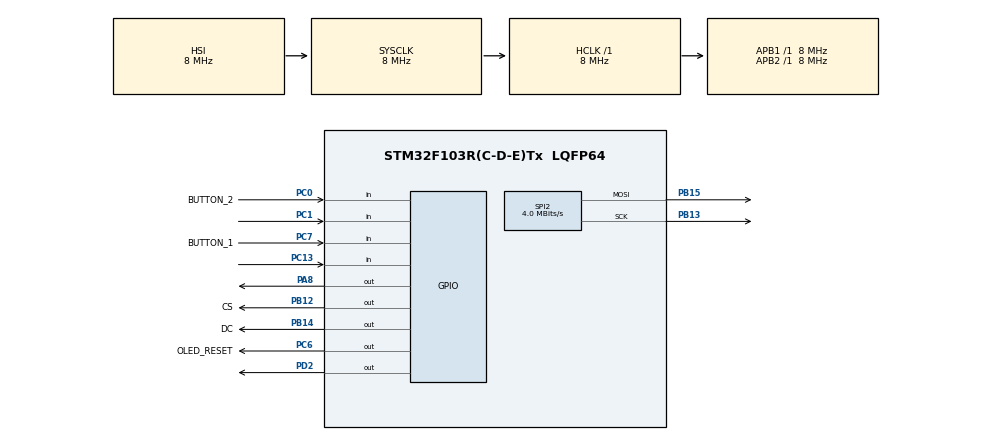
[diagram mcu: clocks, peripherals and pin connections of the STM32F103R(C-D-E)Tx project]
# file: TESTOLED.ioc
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Mcu.Family=STM32F1
PC15-OSC32_OUT.Mode=LSE-External-Oscillator
PD1-OSC_OUT.Mode=HSE-External-Oscillator
SPI2.VirtualType=VM_MASTER
PB14.GPIO_Label=DC
PC6.Signal=GPIO_Output
PC0.GPIO_Label=BUTTON_2
PC13-TAMPER-RTC.Signal=GPIO_Input
PC6.GPIO_Label=OLED_RESET
NVIC.TIM1_UP_IRQn=true\:0\:0\:false\:false\:true\:true\:true
PD0-OSC_IN.Signal=RCC_OSC_IN
PC0.Signal=GPIO_Input
PC14-OSC32_IN.Signal=RCC_OSC32_IN
PB13.Signal=SPI2_SCK
PB15.Signal=SPI2_MOSI
ProjectManager.StackSize=0x400
PD1-OSC_OUT.Signal=RCC_OSC_OUT
PA13.Signal=SYS_JTMS-SWDIO
PB14.PinState=GPIO_PIN_RESET
TIM1.Prescaler=7
ProjectManager.TargetToolchain=TrueSTUDIO
PB14.GPIO_Speed=GPIO_SPEED_FREQ_LOW
RCC.HCLKFreq_Value=8000000
RCC.APB2TimFreq_Value=8000000
PC7.Signal=GPIO_Input
PB12.PinState=GPIO_PIN_RESET
RCC.USBFreq_Value=64000000
PC7.GPIO_PuPd=GPIO_PULLUP
PC15-OSC32_OUT.Signal=RCC_OSC32_OUT
PB14.GPIO_ModeDefaultOutputPP=GPIO_MODE_OUTPUT_PP
RCC.AHBFreq_Value=8000000
SPI2.BaudRatePrescaler=SPI_BAUDRATEPRESCALER_2
PB12.GPIO_Speed=GPIO_SPEED_FREQ_LOW
PD0-OSC_IN.Mode=HSE-External-Oscillator
PC6.PinState=GPIO_PIN_RESET
PB14.Signal=GPIO_Output
PB12.GPIO_ModeDefaultOutputPP=GPIO_MODE_OUTPUT_PP
board=custom
PC1.GPIO_PuPd=GPIO_NOPULL
RCC.PLLMUL=RCC_PLL_MUL16
PB15.Mode=TX_Only_Simplex_Unidirect_Master
PB12.GPIO_Label=CS
RCC.APB2Freq_Value=8000000
PC14-OSC32_IN.Mode=LSE-External-Oscillator
VP_TIM2_VS_ClockSourceINT.Mode=Internal
PA14.Mode=Serial_Wire
SPI2.CalculateBaudRate=4.0 MBits/s
PA8.Signal=GPIO_Output
PA8.GPIO_ModeDefaultOutputPP=GPIO_MODE_OUTPUT_PP
TIM2.Period=50
PA13.Mode=Serial_Wire
Mcu.Name=STM32F103R(C-D-E)Tx
VP_TIM1_VS_ClockSourceINT.Mode=Internal
PC7.GPIO_Label=BUTTON_1
RCC.SYSCLKFreq_VALUE=8000000
Mcu.Package=LQFP64
TIM2.Prescaler=7
PB14.GPIO_PuPd=GPIO_NOPULL
SPI2.Mode=SPI_MODE_MASTER
PA14.Signal=SYS_JTCK-SWCLK
ProjectManager.HeapSize=0x200
PC6.GPIO_PuPd=GPIO_NOPULL
SPI2.CLKPhase=SPI_PHASE_1EDGE
PA8.GPIO_PuPd=GPIO_NOPULL
NVIC.PriorityGroup=NVIC_PRIORITYGROUP_4
RCC.APB1TimFreq_Value=8000000
SPI2.Direction=SPI_DIRECTION_2LINES
TIM1.Period=200
PB13.Mode=TX_Only_Simplex_Unidirect_Master
PC0.GPIO_PuPd=GPIO_PULLUP
PD2.Signal=GPIO_Output
PB12.GPIO_PuPd=GPIO_NOPULL
RCC.APB1Freq_Value=8000000
PC6.GPIO_Speed=GPIO_SPEED_FREQ_LOW
PA8.GPIO_Speed=GPIO_SPEED_FREQ_LOW
PC1.Signal=GPIO_Input
PB12.Signal=GPIO_Output
PC6.GPIO_ModeDefaultOutputPP=GPIO_MODE_OUTPUT_PP
PA8.PinState=GPIO_PIN_RESET

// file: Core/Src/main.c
/* USER CODE BEGIN Header */
/**
  ******************************************************************************
  * @file           : main.c
  * @brief          : Main program body
  ******************************************************************************
  * @attention
  *
  * <h2><center>&copy; Copyright (c) 2021 STMicroelectronics.
  * All rights reserved.</center></h2>
  *
  * This software component is licensed by ST under BSD 3-Clause license,
  * the "License"; You may not use this file except in compliance with the
  * License. You may obtain a copy of the License at:
  *                        opensource.org/licenses/BSD-3-Clause
  *
  ******************************************************************************
  */
/* USER CODE END Header */

#include "main.h"

/* USER CODE BEGIN Includes */
#include "sh1106.h"
#include "font5x7.h"
#include "font7x10.h"
#include "bitmap.h"
#include "math.h"
/* USER CODE END Includes */

SPI_HandleTypeDef hspi2;

TIM_HandleTypeDef htim1;
TIM_HandleTypeDef htim2;

/* USER CODE BEGIN PV */
volatile int speed_cactus = 0;
volatile int speed_dino = 0;
volatile int speed_score_and_display = 0;
volatile int speed_sword = 0;
volatile int speed_bird = 0;
volatile int speed_bird_wing = 0;
/* USER CODE END PV */

void SystemClock_Config(void);
static void MX_GPIO_Init(void);
static void MX_SPI2_Init(void);
static void MX_TIM1_Init(void);
static void MX_TIM2_Init(void);

/* USER CODE BEGIN 0 */
struct dino
{
  int x_dino, y_dino;
  int dino_status;
  int level_jump_dino;
  int fl_dino_foot;
};

struct cactus
{
  int x_cactus, y_cactus;
  int fl_cactus_destroy;
};

struct bird
{
  int x_bird, y_bird;
  int bird_wing;
};

struct sword
{
  int x_sword, y_sword;
  int fl_dino_have_sword;
  int durable_sword;
  int fl_sword_must_appear;
  int fl_sword;
};

struct dino dino1;
struct cactus cactus1;
struct sword sword1;
struct bird bird1;
int32_t score = 0, hscore = 0; //start point, highest point
int fl_invert = 1;

void HAL_TIM_PeriodElapsedCallback(TIM_HandleTypeDef *htim)
{
  speed_cactus++;
  speed_dino++;
  speed_score_and_display++;
  speed_sword++;
  speed_bird++;
  speed_bird_wing++;
}

void dino_work()
{
  //dino position
  if (HAL_GPIO_ReadPin(GPIOC, GPIO_PIN_0) == GPIO_PIN_RESET || dino1.y_dino != 38)
  //when play push button or dino is jumping/downing
  {

    if ((dino1.y_dino == 28) && (dino1.level_jump_dino == -2)) // increase/decrese jump speed like inertia
      dino1.level_jump_dino = -1;
    if ((dino1.y_dino == 24) && (dino1.level_jump_dino == 1))
      dino1.level_jump_dino = 2;

    if (dino1.y_dino == 38) // 38 is default position (when dino in ground)
    {
      dino1.level_jump_dino = -2; // dino jumping
    }
    if (dino1.y_dino == 12) //12 is the highest position when dino jumping
    {
      dino1.level_jump_dino = 1; // dino downing
    }
    dino1.y_dino = dino1.y_dino + dino1.level_jump_dino; //y_dino change
  }

  //    //foot dino
  //    if (dino1.fl_dino_foot == 1)
  //    {
  //    	dino1.fl_dino_foot=0;
  //    }
  //    else if (dino1.fl_dino_foot == 0)
  //    	dino1.fl_dino_foot=1;

  //dino dead
  if ((cactus1.x_cactus > 5) && (cactus1.x_cactus < 24) && (dino1.y_dino > 34) && (cactus1.fl_cactus_destroy == 0))
  {
    //if cactus.x_cactus in 5-> 24 and dino don't jump and cactus not be destroyed
    dino1.dino_status = 1; //dino dead
  }

  if ((bird1.x_bird > 5) && (bird1.x_bird < 24) && (dino1.y_dino < 20))
  {
    //if bird in 5-> 24 and dino is jumping and cactus not be destroyed
    dino1.dino_status = 1; //dino dead
  }
}

void sword_work()
{
  /////////////////////////////Sword appear////////////////////////////////////////////////////
  if ((score != 0) && (score % 800 == 0) && (sword1.fl_dino_have_sword == 0))
  {
    sword1.fl_sword_must_appear = 1; //if dino dont have sword and score % 80 = 0 -> sword appear
    sword1.x_sword = 115;
  }

  if ((speed_sword > 200) && (sword1.fl_sword_must_appear == 1))
  {
    speed_sword = 0;
    sword1.x_sword--;//sword position
    if (sword1.x_sword <= 1)           //if sword display at end of screen but dino dont eat
      sword1.fl_sword_must_appear = 0; //-> sword disappear
  }

  //position dino: x= 10->30
  if ((sword1.fl_sword_must_appear == 1) && (10 < sword1.x_sword) && (sword1.x_sword < 30) && (18 < dino1.y_dino) && (dino1.y_dino < 22))
  {
    sword1.fl_sword_must_appear = 0;
    sword1.fl_dino_have_sword = 1;
    sword1.durable_sword = 1000;
  }

  ///////////////////////////////Sword cut///////////////////////////////////////////////
  if ((HAL_GPIO_ReadPin(GPIOC, GPIO_PIN_7) == GPIO_PIN_RESET) && (sword1.fl_dino_have_sword == 1))
  {
    sword1.durable_sword = sword1.durable_sword - 5;
    {
      sword1.fl_sword = 0; //cut down
    }
  }
  else
    sword1.fl_sword = 1; //normal

  //sword cut effect position: x= 25 -> 44

  if ((sword1.fl_sword == 0) && (25 < cactus1.x_cactus) && (cactus1.x_cactus < 44) && (dino1.y_dino == 38) && (sword1.fl_dino_have_sword == 1) && (sword1.durable_sword > 0))
    // if dino cut a cactus when dino stand on ground (dino not jumping)
    cactus1.fl_cactus_destroy = 1; //cactus be destroyed

  if (sword1.durable_sword <= 0)
  {
    sword1.fl_dino_have_sword = 0;
    sword1.durable_sword = 0;
  }
}

void cactus_work()
{
  //////////////////////////////////Cactus////////////////////////////////////////////////////////////////////////
  int speed_cactus_now;
  //////////////////////Increase speed cactus by score
  if (score <= 1000) // score display= score /10
    speed_cactus_now = 140;
  else if (score <= 2000)
    speed_cactus_now = 100;
  else if (score <= 3000)
    speed_cactus_now = 80;
  else if (score > 3000)
    speed_cactus_now = 40;

  if (speed_cactus > speed_cactus_now)
  {
    speed_cactus = 0;
    cactus1.x_cactus--;
    if (cactus1.x_cactus == 0) //after cactus go to the end of display  (x display max=128)
    {
      cactus1.x_cactus = 122; //cactus appear at start of display
      cactus1.fl_cactus_destroy = 0;
    }
  }
}

void bird_work()
{
  //////////////////////////////////Bird////////////////////////////////////////////////////////////////////////
  int speed_bird_now;
  //////////////////////Increase speed bird by score
  if (score < 4000) // score display= score /10
    speed_bird_now = 200;
  else if (score <= 5000)
    speed_bird_now = 150;
  else if (score <= 6000)
    speed_bird_now = 80;
  else if (score > 6000)
    speed_bird_now = 40;

  if (speed_bird > speed_bird_now)
  {
    speed_bird = 0;
    bird1.x_bird--;
    if (bird1.x_bird == 0) //after bird go to the end of display  (x display max=128)
    {
      bird1.x_bird = 122; //bird appear at start of display
    }
  }
}

void bird_wing_work()
{
  if (speed_bird_wing > 150)
  {
    speed_bird_wing = 0;

    if (bird1.bird_wing == 0)
    {
      bird1.bird_wing = 1;
    }
    else if (bird1.bird_wing == 1)
    {
      bird1.bird_wing = 0;
    }
  }
}

void display()
{

  /////////////////Display//////////////////////////////////////////////////////////
  SH1106_Fill(0x00);                     //clear screen
  LCD_DrawBitmap(1, 58, 127, 8, ground); //display ground
  LCD_HLine(1, 127, 58);                 ////display line ground

  if (cactus1.fl_cactus_destroy == 0)
    LCD_DrawBitmap(cactus1.x_cactus, cactus1.y_cactus, 6, 16, cactus); //display cactus
  else
    LCD_DrawBitmap(cactus1.x_cactus, cactus1.y_cactus + 9, 3, 7, cactus_dead3x7);

  if ((bird1.bird_wing == 1) && (score > 2300))
    LCD_DrawBitmap(bird1.x_bird, bird1.y_bird, 14, 12, bird_down_14x12);
  else if ((bird1.bird_wing == 0) && (score > 2300))
    LCD_DrawBitmap(bird1.x_bird, bird1.y_bird - 6, 14, 12, bird_up_14x12); //display bird

  if (dino1.dino_status == 1) //dino dead
    LCD_DrawBitmap(dino1.x_dino, dino1.y_dino, 20, 20, googledino20x20_dead);
  else if (dino1.fl_dino_foot == 1)
    LCD_DrawBitmap(dino1.x_dino, dino1.y_dino, 20, 20, googledino20x20_right);
  else if (dino1.fl_dino_foot == 0)
    LCD_DrawBitmap(dino1.x_dino, dino1.y_dino, 20, 20, googledino20x20_left); //display dino

  if ((sword1.fl_sword == 1) && (sword1.fl_dino_have_sword == 1))
    LCD_DrawBitmap(dino1.x_dino + 15, dino1.y_dino - 1, 13, 13, sword13x13_up); //display sword
  else if ((sword1.fl_sword == 0) && (sword1.fl_dino_have_sword == 1))
    LCD_DrawBitmap(dino1.x_dino + 15, dino1.y_dino + 6, 19, 7, sword19x7_down);

  if (sword1.fl_sword_must_appear == 1)
    LCD_DrawBitmap(sword1.x_sword, sword1.y_sword, 13, 13, sword13x13_up); //display sword to eat

  LCD_PutStr(85, 2, " HI:", &Font5x7);
  LCD_PutInt(5, 2, score / 10, &Font5x7);    //display score
  LCD_PutInt(110, 2, hscore / 10, &Font5x7); //display highest score

  if (sword1.durable_sword > 0) //display dino have sword time
  {
    LCD_PutInt(50, 2, sword1.durable_sword / 10, &Font5x7);
    LCD_PutStr(65, 2, "%", &Font5x7);
  }

  if ((score % 1000 == 0) && (fl_invert == 1)) //change day and night
  {
    SH1106_SetInvert(0);
    fl_invert = 0;
  }
  else if ((score % 1000 == 0) && (fl_invert == 0))
  {
    SH1106_SetInvert(1);
    fl_invert = 1;
  }
  SH1106_Flush();
}

void dino_dead()
{
  LCD_PutStr(30, 20, "GAME OVER", &Font7x10);
  SH1106_Flush();

  while (HAL_GPIO_ReadPin(GPIOC, GPIO_PIN_0) == GPIO_PIN_SET)
    ; //if push button again
      //reset game
  cactus1.x_cactus = 122;
  cactus1.y_cactus = 42; //start position cactus
  cactus1.fl_cactus_destroy = 0;

  bird1.x_bird = 110;
  bird1.y_bird = 15;
  bird1.bird_wing = 0; //wing up

  sword1.x_sword = 0;
  sword1.y_sword = 20; //sword appear position
  sword1.fl_sword = 1;
  sword1.fl_dino_have_sword = 0; //dino do not have sword
  sword1.durable_sword = 0;
  sword1.fl_sword_must_appear = 0;

  dino1.x_dino = 10;
  dino1.y_dino = 38;          //start position dino 20*20
  dino1.level_jump_dino = -2; //level dino jump/drop
  dino1.dino_status = 0;      // Dino dead or alive, 0= alive, 1=dead
  dino1.fl_dino_foot = 1;

  SH1106_SetInvert(1);
  fl_invert = 1;
  if (score > hscore)
  {
    hscore = score;
  }
  score = 0;
}

/* USER CODE END 0 */

int main(void)
{

  /* MCU Configuration--------------------------------------------------------*/

  /* Reset of all peripherals, Initializes the Flash interface and the Systick. */
  HAL_Init();

  /* Configure the system clock */
  SystemClock_Config();

  /* Initialize all configured peripherals */
  MX_GPIO_Init();
  MX_SPI2_Init();
  MX_TIM1_Init();
  MX_TIM2_Init();
  /* USER CODE BEGIN 2 */
  SH1106_Init();
  HAL_TIM_Base_Init(&htim1);
  HAL_TIM_Base_Start_IT(&htim1);

  SH1106_SetInvert(1);
  SH1106_Contrast(100);
  SH1106_Orientation(0);
  SH1106_Flush();

  HAL_GPIO_WritePin(GPIOD, GPIO_PIN_2, GPIO_PIN_SET);
  HAL_GPIO_WritePin(GPIOA, GPIO_PIN_8, GPIO_PIN_SET);

  cactus1.x_cactus = 122;
  cactus1.y_cactus = 42; //start position cactus
  cactus1.fl_cactus_destroy = 0;

  bird1.x_bird = 110;
  bird1.y_bird = 15;
  bird1.bird_wing = 0; //wing up

  sword1.x_sword = 0;
  sword1.y_sword = 20; //sword appear position
  sword1.fl_sword = 1;
  sword1.fl_dino_have_sword = 0; //dino do not have sword
  sword1.durable_sword = 0;
  sword1.fl_sword_must_appear = 0;

  dino1.x_dino = 10;
  dino1.y_dino = 38;          //start position dino 20*20
  dino1.level_jump_dino = -2; //level dino jump/drop
  dino1.dino_status = 0;      // Dino dead or alive, 0= alive, 1=dead
  dino1.fl_dino_foot = 1;

  /* USER CODE END 2 */

  /* Infinite loop */
  /* USER CODE BEGIN WHILE */
  while (1)
  {
    if (speed_dino > 80)
    {
      speed_dino = 0;
      dino_work();
    }

    sword_work();

    cactus_work();

    if (score > 2300)
    {
      bird_work();
      bird_wing_work();
    }

    if (speed_score_and_display > 50)
    {
      speed_score_and_display = 0;
      score++;
      display();
    }

    if (dino1.dino_status == 1)
    {
      dino_dead();
    }
    /* USER CODE END WHILE */

  }
}

void SystemClock_Config(void)
{
  RCC_OscInitTypeDef RCC_OscInitStruct = {0};
  RCC_ClkInitTypeDef RCC_ClkInitStruct = {0};

  /** Initializes the CPU, AHB and APB busses clocks
  */
  RCC_OscInitStruct.OscillatorType = RCC_OSCILLATORTYPE_HSI;
  RCC_OscInitStruct.HSIState = RCC_HSI_ON;
  RCC_OscInitStruct.HSICalibrationValue = RCC_HSICALIBRATION_DEFAULT;
  RCC_OscInitStruct.PLL.PLLState = RCC_PLL_NONE;
  if (HAL_RCC_OscConfig(&RCC_OscInitStruct) != HAL_OK)
  {
    Error_Handler();
  }
  /** Initializes the CPU, AHB and APB busses clocks
  */
  RCC_ClkInitStruct.ClockType = RCC_CLOCKTYPE_HCLK | RCC_CLOCKTYPE_SYSCLK | RCC_CLOCKTYPE_PCLK1 | RCC_CLOCKTYPE_PCLK2;
  RCC_ClkInitStruct.SYSCLKSource = RCC_SYSCLKSOURCE_HSI;
  RCC_ClkInitStruct.AHBCLKDivider = RCC_SYSCLK_DIV1;
  RCC_ClkInitStruct.APB1CLKDivider = RCC_HCLK_DIV1;
  RCC_ClkInitStruct.APB2CLKDivider = RCC_HCLK_DIV1;

  if (HAL_RCC_ClockConfig(&RCC_ClkInitStruct, FLASH_LATENCY_0) != HAL_OK)
  {
    Error_Handler();
  }
}

static void MX_SPI2_Init(void)
{

  /* SPI2 parameter configuration*/
  hspi2.Instance = SPI2;
  hspi2.Init.Mode = SPI_MODE_MASTER;
  hspi2.Init.Direction = SPI_DIRECTION_2LINES;
  hspi2.Init.DataSize = SPI_DATASIZE_8BIT;
  hspi2.Init.CLKPolarity = SPI_POLARITY_LOW;
  hspi2.Init.CLKPhase = SPI_PHASE_1EDGE;
  hspi2.Init.NSS = SPI_NSS_SOFT;
  hspi2.Init.BaudRatePrescaler = SPI_BAUDRATEPRESCALER_2;
  hspi2.Init.FirstBit = SPI_FIRSTBIT_MSB;
  hspi2.Init.TIMode = SPI_TIMODE_DISABLE;
  hspi2.Init.CRCCalculation = SPI_CRCCALCULATION_DISABLE;
  hspi2.Init.CRCPolynomial = 10;
  if (HAL_SPI_Init(&hspi2) != HAL_OK)
  {
    Error_Handler();
  }
}

static void MX_TIM1_Init(void)
{

  TIM_ClockConfigTypeDef sClockSourceConfig = {0};
  TIM_MasterConfigTypeDef sMasterConfig = {0};

  htim1.Instance = TIM1;
  htim1.Init.Prescaler = 7;
  htim1.Init.CounterMode = TIM_COUNTERMODE_UP;
  htim1.Init.Period = 200;
  htim1.Init.ClockDivision = TIM_CLOCKDIVISION_DIV1;
  htim1.Init.RepetitionCounter = 0;
  htim1.Init.AutoReloadPreload = TIM_AUTORELOAD_PRELOAD_DISABLE;
  if (HAL_TIM_Base_Init(&htim1) != HAL_OK)
  {
    Error_Handler();
  }
  sClockSourceConfig.ClockSource = TIM_CLOCKSOURCE_INTERNAL;
  if (HAL_TIM_ConfigClockSource(&htim1, &sClockSourceConfig) != HAL_OK)
  {
    Error_Handler();
  }
  sMasterConfig.MasterOutputTrigger = TIM_TRGO_RESET;
  sMasterConfig.MasterSlaveMode = TIM_MASTERSLAVEMODE_DISABLE;
  if (HAL_TIMEx_MasterConfigSynchronization(&htim1, &sMasterConfig) != HAL_OK)
  {
    Error_Handler();
  }
}

static void MX_TIM2_Init(void)
{

  TIM_ClockConfigTypeDef sClockSourceConfig = {0};
  TIM_MasterConfigTypeDef sMasterConfig = {0};

  htim2.Instance = TIM2;
  htim2.Init.Prescaler = 7;
  htim2.Init.CounterMode = TIM_COUNTERMODE_UP;
  htim2.Init.Period = 50;
  htim2.Init.ClockDivision = TIM_CLOCKDIVISION_DIV1;
  htim2.Init.AutoReloadPreload = TIM_AUTORELOAD_PRELOAD_DISABLE;
  if (HAL_TIM_Base_Init(&htim2) != HAL_OK)
  {
    Error_Handler();
  }
  sClockSourceConfig.ClockSource = TIM_CLOCKSOURCE_INTERNAL;
  if (HAL_TIM_ConfigClockSource(&htim2, &sClockSourceConfig) != HAL_OK)
  {
    Error_Handler();
  }
  sMasterConfig.MasterOutputTrigger = TIM_TRGO_RESET;
  sMasterConfig.MasterSlaveMode = TIM_MASTERSLAVEMODE_DISABLE;
  if (HAL_TIMEx_MasterConfigSynchronization(&htim2, &sMasterConfig) != HAL_OK)
  {
    Error_Handler();
  }
}

static void MX_GPIO_Init(void)
{
  GPIO_InitTypeDef GPIO_InitStruct = {0};

  /* GPIO Ports Clock Enable */
  __HAL_RCC_GPIOC_CLK_ENABLE();
  __HAL_RCC_GPIOD_CLK_ENABLE();
  __HAL_RCC_GPIOB_CLK_ENABLE();
  __HAL_RCC_GPIOA_CLK_ENABLE();

  /*Configure GPIO pin Output Level */
  HAL_GPIO_WritePin(GPIOB, CS_Pin | DC_Pin, GPIO_PIN_RESET);

  /*Configure GPIO pin Output Level */
  HAL_GPIO_WritePin(OLED_RESET_GPIO_Port, OLED_RESET_Pin, GPIO_PIN_RESET);

  /*Configure GPIO pin Output Level */
  HAL_GPIO_WritePin(GPIOA, GPIO_PIN_8, GPIO_PIN_RESET);

  /*Configure GPIO pin Output Level */
  HAL_GPIO_WritePin(GPIOD, GPIO_PIN_2, GPIO_PIN_RESET);

  /*Configure GPIO pins : PC13 PC1 */
  GPIO_InitStruct.Pin = GPIO_PIN_13 | GPIO_PIN_1;
  GPIO_InitStruct.Mode = GPIO_MODE_INPUT;
  GPIO_InitStruct.Pull = GPIO_NOPULL;
  HAL_GPIO_Init(GPIOC, &GPIO_InitStruct);

  /*Configure GPIO pins : BUTTON_2_Pin BUTTON_1_Pin */
  GPIO_InitStruct.Pin = BUTTON_2_Pin | BUTTON_1_Pin;
  GPIO_InitStruct.Mode = GPIO_MODE_INPUT;
  GPIO_InitStruct.Pull = GPIO_PULLUP;
  HAL_GPIO_Init(GPIOC, &GPIO_InitStruct);

  /*Configure GPIO pins : CS_Pin DC_Pin */
  GPIO_InitStruct.Pin = CS_Pin | DC_Pin;
  GPIO_InitStruct.Mode = GPIO_MODE_OUTPUT_PP;
  GPIO_InitStruct.Pull = GPIO_NOPULL;
  GPIO_InitStruct.Speed = GPIO_SPEED_FREQ_LOW;
  HAL_GPIO_Init(GPIOB, &GPIO_InitStruct);

  /*Configure GPIO pin : OLED_RESET_Pin */
  GPIO_InitStruct.Pin = OLED_RESET_Pin;
  GPIO_InitStruct.Mode = GPIO_MODE_OUTPUT_PP;
  GPIO_InitStruct.Pull = GPIO_NOPULL;
  GPIO_InitStruct.Speed = GPIO_SPEED_FREQ_LOW;
  HAL_GPIO_Init(OLED_RESET_GPIO_Port, &GPIO_InitStruct);

  /*Configure GPIO pin : PA8 */
  GPIO_InitStruct.Pin = GPIO_PIN_8;
  GPIO_InitStruct.Mode = GPIO_MODE_OUTPUT_PP;
  GPIO_InitStruct.Pull = GPIO_NOPULL;
  GPIO_InitStruct.Speed = GPIO_SPEED_FREQ_LOW;
  HAL_GPIO_Init(GPIOA, &GPIO_InitStruct);

  /*Configure GPIO pin : PD2 */
  GPIO_InitStruct.Pin = GPIO_PIN_2;
  GPIO_InitStruct.Mode = GPIO_MODE_OUTPUT_PP;
  GPIO_InitStruct.Pull = GPIO_NOPULL;
  GPIO_InitStruct.Speed = GPIO_SPEED_FREQ_LOW;
  HAL_GPIO_Init(GPIOD, &GPIO_InitStruct);
}

void Error_Handler(void)
{
}

/************************ (C) COPYRIGHT STMicroelectronics *****END OF FILE****/
